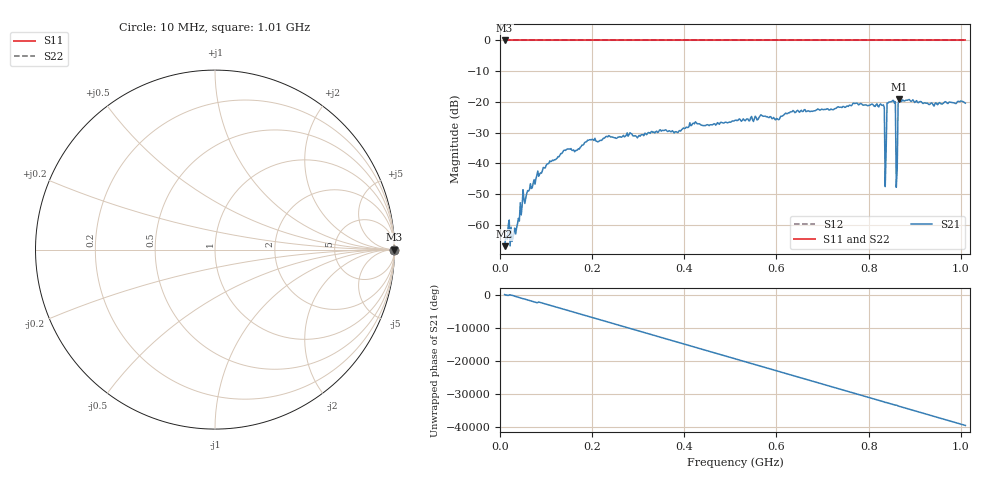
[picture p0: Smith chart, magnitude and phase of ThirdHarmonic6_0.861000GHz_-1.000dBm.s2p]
! 8/16/2025 4:28:11 AM
! C:\ANRITSUVNA\TEMP\TEMP.S2P
! CHANNEL.1
! TR.MEASUREMENT
! RAW.DATA
! RF.CORRECTION.OFF
! AVERAGING.OFF
! IF.BANDWIDTH: 5KHZ
! SWEEPTYPE:  FREQ.SWEEP(Linear)
! Reference Plane Port Info
! PORT:  PORT1  PORT2
! DISTANCE:  0  m  0  m
! TIME:  0  s  0  s
! PHASE.OFFSET:  0  deg.  0  deg.
! LOSS:  0  dB  0  dB
! REF.LOSS:  0  dB  0  dB
! REF.FREQ:  0  Hz  0  Hz
! Power Info
! POWER:  -20  dBm  -20  dBm
! EFF.POWER:  -20  dBm  -20  dBm
! SOURCE.ATTEN:  0  dB  0  dB
! TEST.ATTEN:  0  dB  0  dB
# GHZ S RI R 50.0
! FREQ.GHZ  S11RE  S11IM  S21RE  S21IM  S12RE  S12IM  S22RE  S22IM
!; PortSelection: Port_12
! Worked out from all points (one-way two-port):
!   501 points, 10 MHz to 1.01 GHz, reference 50 ohm
!   highest |S21| = -19.20 dB at 866 MHz (marker M1); lowest = -67.0 dB at 10 MHz (marker M2)
!   lowest |S11| = 0.0 dB at 10 MHz (marker M3)
!   |S11| at or under -10 dB: nowhere
!   |S22| runs from 0.0 to 0.0 dB; largest |S21 - S12| = 1.1
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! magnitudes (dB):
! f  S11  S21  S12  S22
! 10 MHz  0.0  -67.0  0.0  0.0
! 16 MHz  0.0  -64.6  0.0  0.0
! 30 MHz  0.0  -62.0  0.0  0.0
! 48 MHz  0.0  -53.9  0.0  0.0
! 82 MHz  0.0  -42.5  0.0  0.0
! 142 MHz  0.0  -35.8  0.0  0.0
! 178 MHz  0.0  -34.1  0.0  0.0
! 344 MHz  0.0  -29.8  0.0  0.0
! 510 MHz  0.0  -26.0  0.0  0.0
! 678 MHz  0.0  -23.1  0.0  0.0
! 828 MHz  0.0  -21.0  0.0  0.0
! 830 MHz  0.0  -21.1  0.0  0.0
! 834 MHz  0.0  -21.8  0.0  0.0
! 840 MHz  0.0  -20.4  0.0  0.0
! 844 MHz  0.0  -20.0  0.0  0.0
! 854 MHz  0.0  -19.5  0.0  0.0
! 858 MHz  0.0  -20.0  0.0  0.0
! 864 MHz  0.0  -20.6  0.0  0.0
! 866 MHz  0.0  -19.2  0.0  0.0
! 868 MHz  0.0  -19.3  0.0  0.0
! 870 MHz  0.0  -19.9  0.0  0.0
! 1.01 GHz  0.0  -20.4  0.0  0.0
